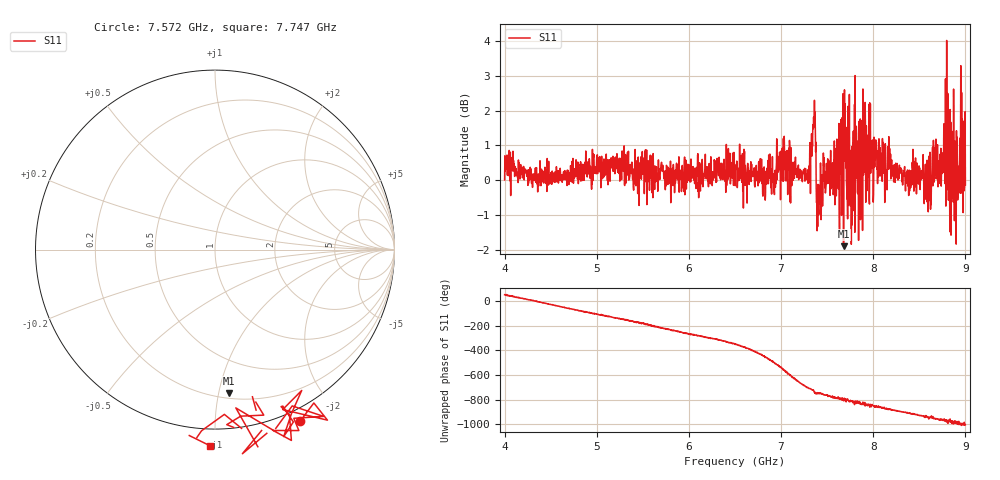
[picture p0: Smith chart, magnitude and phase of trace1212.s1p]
! Created with skrf 1.8.0 (http://scikit-rf.org).
# Hz S RI R 50.0
!freq ReS11 ImS11
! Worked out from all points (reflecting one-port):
!   1601 points, 4 GHz to 9 GHz, reference 50 ohm
!   lowest |S11| = -1.9 dB at 7.678 GHz (marker M1), VSWR 9.17, Z = 11.9 - j53.5 ohm
!   phase of S11 starts at 50 deg and turns -1054 deg over the sweep
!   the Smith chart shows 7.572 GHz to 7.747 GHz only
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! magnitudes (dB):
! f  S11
! 4 GHz  0.0
! 4.625 GHz  -0.1
! 5.25 GHz  0.0
! 5.875 GHz  0.0
! 6.5 GHz  0.3
! 6.819 GHz  0.0
! 7.044 GHz  0.8
! 7.125 GHz  0.1
! 7.294 GHz  -0.1
! 7.353 GHz  1.8
! 7.409 GHz  -1.0
! 7.481 GHz  -0.4
! 7.609 GHz  0.5
! 7.678 GHz  -1.9
! 7.75 GHz  -0.5
! 7.775 GHz  0.6
! 7.803 GHz  3.0
! 7.859 GHz  1.8
! 7.891 GHz  0.6
! 8.375 GHz  0.0
! 8.603 GHz  0.7
! 8.659 GHz  0.1
! 8.728 GHz  -0.1
! 8.788 GHz  -0.7
! 8.841 GHz  1.7
! 8.906 GHz  0.1
! 8.972 GHz  1.0
! 9 GHz  -0.1
